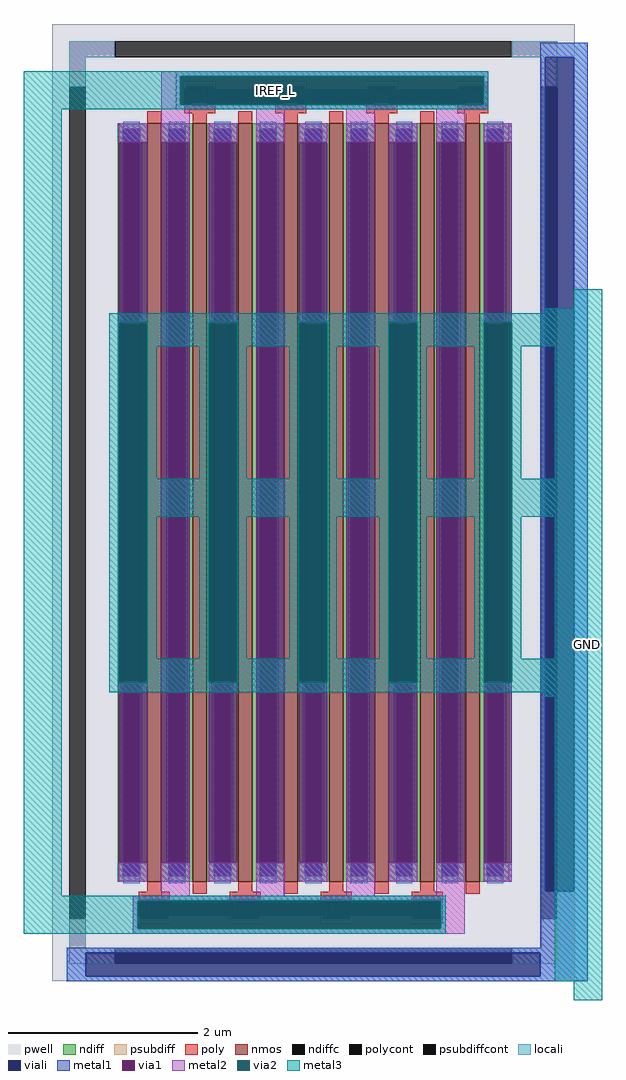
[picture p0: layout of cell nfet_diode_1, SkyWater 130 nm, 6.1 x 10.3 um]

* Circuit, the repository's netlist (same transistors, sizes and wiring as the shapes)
* NGSPICE file created from nfet_diode_1.ext - technology: sky130B

.subckt sky130_fd_pr__nfet_01v8_6H2JGK a_63_n800# a_n225_n800# a_111_822# a_n321_n800#
+ a_207_n888# a_n369_n888# a_n33_n800# a_303_822# a_15_n888# a_n81_822# a_n177_n888#
+ a_159_n800# a_n515_n974# a_n273_822# a_255_n800# a_n413_n800# a_351_n800# a_n129_n800#
X0 a_n129_n800# a_n177_n888# a_n225_n800# a_n515_n974# sky130_fd_pr__nfet_01v8 ad=2.64e+12p pd=1.666e+07u as=2.64e+12p ps=1.666e+07u w=8e+06u l=150000u
X1 a_351_n800# a_303_822# a_255_n800# a_n515_n974# sky130_fd_pr__nfet_01v8 ad=2.48e+12p pd=1.662e+07u as=2.64e+12p ps=1.666e+07u w=8e+06u l=150000u
X2 a_n33_n800# a_n81_822# a_n129_n800# a_n515_n974# sky130_fd_pr__nfet_01v8 ad=2.64e+12p pd=1.666e+07u as=0p ps=0u w=8e+06u l=150000u
X3 a_255_n800# a_207_n888# a_159_n800# a_n515_n974# sky130_fd_pr__nfet_01v8 ad=0p pd=0u as=2.64e+12p ps=1.666e+07u w=8e+06u l=150000u
X4 a_n321_n800# a_n369_n888# a_n413_n800# a_n515_n974# sky130_fd_pr__nfet_01v8 ad=2.64e+12p pd=1.666e+07u as=2.48e+12p ps=1.662e+07u w=8e+06u l=150000u
X5 a_159_n800# a_111_822# a_63_n800# a_n515_n974# sky130_fd_pr__nfet_01v8 ad=0p pd=0u as=2.64e+12p ps=1.666e+07u w=8e+06u l=150000u
X6 a_n225_n800# a_n273_822# a_n321_n800# a_n515_n974# sky130_fd_pr__nfet_01v8 ad=0p pd=0u as=0p ps=0u w=8e+06u l=150000u
X7 a_63_n800# a_15_n888# a_n33_n800# a_n515_n974# sky130_fd_pr__nfet_01v8 ad=0p pd=0u as=0p ps=0u w=8e+06u l=150000u
.ends

.subckt nfet_diode_1
Xsky130_fd_pr__nfet_01v8_6H2JGK_0 IREF_L GND IREF_L IREF_L IREF_L IREF_L GND IREF_L
+ IREF_L IREF_L IREF_L GND VSUBS IREF_L IREF_L GND GND IREF_L sky130_fd_pr__nfet_01v8_6H2JGK
.ends

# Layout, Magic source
magic
tech sky130B
magscale 1 2
<< locali >>
rect 1430 9590 1530 9620
rect 678 9488 1320 9522
rect 1430 7830 1440 9590
rect 1500 7830 1530 9590
rect 582 7778 1224 7812
rect 1430 7710 1530 7830
rect 430 7700 1530 7710
rect 430 7650 470 7700
rect 1430 7650 1530 7700
rect 430 7640 1530 7650
<< viali >>
rect 1440 7830 1500 9590
rect 470 7650 1430 7700
<< metal1 >>
rect 1430 9590 1530 9620
rect 660 9550 1320 9560
rect 660 9490 670 9550
rect 1310 9490 1320 9550
rect 660 9480 1320 9490
rect 540 9410 600 9450
rect 540 7850 600 7890
rect 630 9410 690 9450
rect 630 7850 690 7890
rect 730 9410 790 9450
rect 730 7850 790 7890
rect 830 9410 890 9450
rect 830 7850 890 7890
rect 920 9410 980 9450
rect 920 7850 980 7890
rect 1020 9410 1080 9450
rect 1020 7850 1080 7890
rect 1110 9410 1170 9450
rect 1110 7850 1170 7890
rect 1210 9410 1270 9450
rect 1210 7850 1270 7890
rect 1310 9410 1370 9450
rect 1310 7850 1370 7890
rect 1430 7830 1440 9590
rect 1500 7830 1530 9590
rect 570 7810 1230 7820
rect 570 7750 580 7810
rect 1220 7750 1230 7810
rect 570 7740 1230 7750
rect 1430 7710 1530 7830
rect 430 7700 1530 7710
rect 430 7650 470 7700
rect 1430 7650 1530 7700
rect 430 7640 1530 7650
<< via1 >>
rect 670 9490 1310 9550
rect 540 7890 600 9410
rect 630 7890 690 9410
rect 730 7890 790 9410
rect 830 7890 890 9410
rect 920 7890 980 9410
rect 1020 7890 1080 9410
rect 1110 7890 1170 9410
rect 1210 7890 1270 9410
rect 1310 7890 1370 9410
rect 580 7750 1220 7810
<< metal2 >>
rect 630 9550 1320 9560
rect 630 9490 670 9550
rect 1310 9490 1320 9550
rect 630 9480 1320 9490
rect 540 9410 600 9450
rect 540 7850 600 7890
rect 630 9410 690 9480
rect 630 7820 690 7890
rect 730 9410 790 9450
rect 730 7850 790 7890
rect 830 9410 890 9480
rect 830 7820 890 7890
rect 920 9410 980 9450
rect 920 7850 980 7890
rect 1020 9410 1080 9480
rect 1020 7820 1080 7890
rect 1110 9410 1170 9450
rect 1110 7850 1170 7890
rect 1210 9410 1270 9480
rect 1210 7820 1270 7890
rect 1310 9410 1370 9450
rect 1310 7850 1370 7890
rect 570 7810 1270 7820
rect 570 7750 580 7810
rect 1220 7750 1270 7810
rect 570 7740 1270 7750
<< via2 >>
rect 670 9490 1310 9550
rect 540 8270 600 9030
rect 730 8270 790 9030
rect 920 8270 980 9030
rect 1110 8270 1170 9030
rect 1310 8270 1370 9030
rect 580 7750 1220 7810
<< metal3 >>
rect 340 9550 1320 9560
rect 340 9490 670 9550
rect 1310 9490 1320 9550
rect 340 9480 1320 9490
rect 340 7820 420 9480
rect 1500 9060 1560 9100
rect 1440 9050 1560 9060
rect 520 9030 1560 9050
rect 520 8270 540 9030
rect 600 8980 730 9030
rect 600 8700 620 8980
rect 710 8700 730 8980
rect 600 8620 730 8700
rect 600 8320 620 8620
rect 710 8320 730 8620
rect 600 8270 730 8320
rect 790 8980 920 9030
rect 790 8700 810 8980
rect 900 8700 920 8980
rect 790 8620 920 8700
rect 790 8320 810 8620
rect 900 8320 920 8620
rect 790 8270 920 8320
rect 980 8980 1110 9030
rect 980 8700 1000 8980
rect 1090 8700 1110 8980
rect 980 8620 1110 8700
rect 980 8320 1000 8620
rect 1090 8320 1110 8620
rect 980 8270 1110 8320
rect 1170 8980 1310 9030
rect 1170 8700 1190 8980
rect 1290 8700 1310 8980
rect 1170 8620 1310 8700
rect 1170 8320 1190 8620
rect 1290 8320 1310 8620
rect 1170 8270 1310 8320
rect 1370 8980 1560 9030
rect 1370 8700 1390 8980
rect 1460 8700 1560 8980
rect 1370 8620 1560 8700
rect 1370 8320 1390 8620
rect 1460 8320 1560 8620
rect 1370 8270 1560 8320
rect 520 8250 1560 8270
rect 1440 8240 1560 8250
rect 340 7810 1230 7820
rect 340 7750 580 7810
rect 1220 7750 1230 7810
rect 340 7740 1230 7750
rect 1460 7640 1560 8240
rect 1500 7600 1560 7640
use sky130_fd_pr__nfet_01v8_6H2JGK  sky130_fd_pr__nfet_01v8_6H2JGK_0
transform 1 0 951 0 1 8650
box -551 -1010 551 1010
<< labels >>
rlabel metal3 420 9480 1320 9560 1 IREF_L
rlabel metal3 1500 7600 1560 9100 1 GND
<< end >>

# cell sky130_fd_pr__nfet_01v8_6H2JGK: kit device sky130_fd_pr__nfet_01v8, w 8 l 0.150 m 1 nf 8 diffcov 100 polycov 100 guard 1 glc 1 grc 1 gtc 1 gbc 1 tbcov 100 rlcov 100 topc 1 botc 1 poverlap 0 doverlap 1 lmin 0.15 wmin 0.42 compatible {sky130_fd_pr__nfet_01v8 sky130_fd_pr__nfet_01v8_lvt sky130_fd_bs_flash__special_sonosfet_star sky130_fd_pr__nfet_g5v0d10v5 sky130_fd_pr__nfet_05v0_nvt sky130_fd_pr__nfet_03v3_nvt} full_metal 1 viasrc 100 viadrn 100 viagate 100 viagb 0 viagr 0 viagl 0 viagt 0
